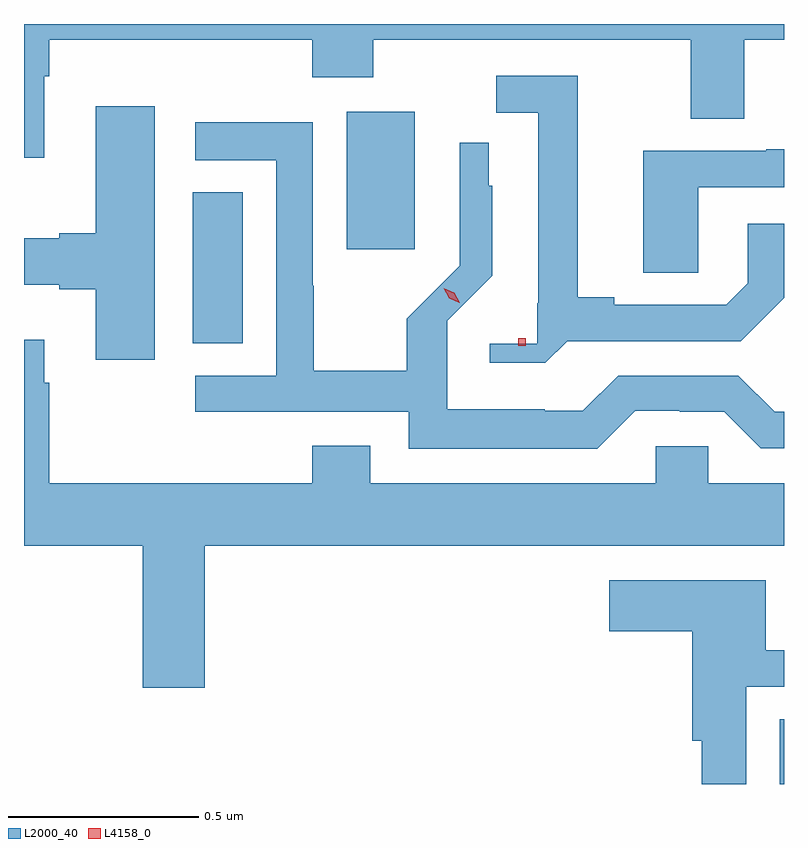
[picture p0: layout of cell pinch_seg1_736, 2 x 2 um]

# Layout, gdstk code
import gdstk
lib = gdstk.Library(unit=1e-6, precision=1e-09)
def R(c, l, rs):  # rectangles x0, y0, x1, y1
    for r in rs: c.add(gdstk.rectangle(r[:2], r[2:], *l))
def P(c, l, *ps):  # polygons
    for p in ps: c.add(gdstk.Polygon(p, *l))
L2000_40 = (2000, 40)
L4158_0 = (4158, 0)

pinch_seg1_736 = lib.new_cell('pinch_seg1_736')
R(pinch_seg1_736, L2000_40, [(658.193,540.449,658.204,540.62), (656.648,541.609,656.779,542.006), (657.053,541.856,657.232,542.218)])
P(pinch_seg1_736, L2000_40, [(656.257,542.312),(656.27,542.312),(656.27,542.408),(656.963,542.408),(656.963,542.309),(657.123,542.309),(657.123,542.408),(657.959,542.408),(657.959,542.2),(658.099,542.2),(658.099,542.408),(658.204,542.408),(658.204,542.449),(656.204,542.449),(656.204,542.097),(656.257,542.097)],
  [(657.633,541.614),(658.09,541.614),(658.204,541.728),(658.204,541.924),(658.109,541.924),(658.109,541.767),(658.052,541.71),(657.757,541.71),(657.757,541.73),(657.661,541.73),(657.661,542.313),(657.447,542.313),(657.447,542.215),(657.557,542.215),(657.557,541.714),(657.555,541.714),(657.555,541.608),(657.429,541.608),(657.429,541.557),(657.576,541.557)],
  [(656.548,542.233),(656.393,542.233),(656.393,541.898),(656.297,541.898),(656.297,541.885),(656.204,541.885),(656.204,541.763),(656.297,541.763),(656.297,541.751),(656.393,541.751),(656.393,541.566),(656.548,541.566)],
  [(657.813,541.431),(657.929,541.431),(657.929,541.428),(658.047,541.428),(658.143,541.332),(658.204,541.332),(658.204,541.428),(658.179,541.428),(658.083,541.524),(657.768,541.524),(657.675,541.431),(657.575,541.431),(657.575,541.435),(657.318,541.435),(657.318,541.668),(657.436,541.786),(657.436,542.024),(657.427,542.024),(657.427,542.137),(657.351,542.137),(657.351,541.813),(657.211,541.673),(657.211,541.537),(656.967,541.537),(656.967,541.76),(656.964,541.76),(656.964,542.19),(656.655,542.19),(656.655,542.091),(656.868,542.091),(656.868,541.524),(656.655,541.524),(656.655,541.428),(657.216,541.428),(657.216,541.331),(657.713,541.331)],
  [(657.978,542.019),(658.204,542.019),(658.204,542.119),(658.157,542.119),(658.157,542.115),(657.833,542.115),(657.833,541.795),(657.978,541.795)],
  [(656.68,541.076),(658.204,541.076),(658.204,541.24),(658.005,541.24),(658.005,541.338),(657.867,541.338),(657.867,541.24),(657.115,541.24),(657.115,541.339),(656.963,541.339),(656.963,541.24),(656.27,541.24),(656.27,541.505),(656.257,541.505),(656.257,541.618),(656.204,541.618),(656.204,541.076),(656.516,541.076),(656.516,540.702),(656.68,540.702)],
  [(658.104,540.705),(658.204,540.705),(658.204,540.801),(658.156,540.801),(658.156,540.985),(657.744,540.985),(657.744,540.851),(657.962,540.851),(657.962,540.563),(657.988,540.563),(657.988,540.449),(658.104,540.449)])
R(pinch_seg1_736, L4158_0, [(657.504,541.602,657.524,541.622)])
P(pinch_seg1_736, L4158_0, [(657.35,541.716),(657.323,541.727),(657.308,541.753),(657.308,541.753),(657.308,541.753),(657.336,541.742),(657.351,541.716),(657.351,541.716)])

lib.write_gds('pinch_seg1_736.gds')
